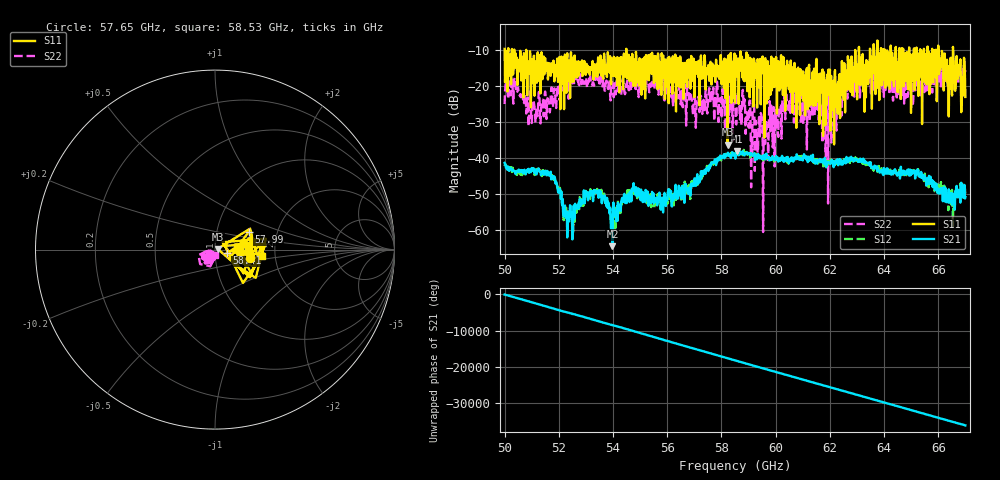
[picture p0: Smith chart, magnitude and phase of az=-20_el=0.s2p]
!Created with skrf (http://scikit-rf.org).
# GHz S RI R 50.0
!freq ReS11 ImS11 ReS21 ImS21 ReS12 ImS12 ReS22 ImS22
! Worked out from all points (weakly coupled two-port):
!   1001 points, 50 GHz to 67 GHz, reference 50 ohm
!   highest |S21| = -38.00 dB at 58.57 GHz (marker M1); lowest = -64.5 dB at 53.98 GHz (marker M2)
!   lowest |S11| = -36.3 dB at 58.23 GHz (marker M3), VSWR 1.03, Z = 51.5 + j0.401 ohm
!   |S11| at or under -10 dB: 50.8 GHz to 54.49 GHz (3.686 GHz wide, 7 % of centre); 54.49 GHz to 62.94 GHz (8.447 GHz wide, 14.4 % of centre); 66.01 GHz to 66.54 GHz (528.6 MHz wide, 0.798 % of centre) (the widest 3 of 30)
!   |S22| runs from -60.5 to -13.9 dB; largest |S21 - S12| = 0.0024
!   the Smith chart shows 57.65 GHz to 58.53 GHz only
!   S11 on the Smith chart (normalised r, x): 57.65 GHz: 1.47, -0.14; 57.99 GHz: 1.42, +0.29; 58.41 GHz: 1.14, -0.05; 58.53 GHz: 1.71, -0.14
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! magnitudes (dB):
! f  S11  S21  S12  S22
! 50 GHz  -9.6  -41.3  -42.2  -25.0
! 51.77 GHz  -15.5  -45.8  -45.6  -24.7
! 52.31 GHz  -10.9  -62.0  -57.1  -18.6
! 52.84 GHz  -13.6  -51.9  -52.2  -19.4
! 53.98 GHz  -15.8  -64.5  -61.2  -19.1
! 54.78 GHz  -17.2  -49.1  -49.9  -19.6
! 55.68 GHz  -13.5  -51.3  -52.6  -22.4
! 57.65 GHz  -14.0  -41.1  -42.3  -23.7
! 57.99 GHz  -13.5  -40.0  -40.6  -28.7
! 58.23 GHz  -36.3  -39.3  -38.9  -23.1
! 58.41 GHz  -23.4  -38.5  -38.4  -35.2
! 58.5 GHz  -24.6  -39.0  -38.8  -24.3
! 58.53 GHz  -11.5  -38.4  -38.5  -30.5
! 58.57 GHz  -12.7  -38.0  -38.6  -23.8
! 59.61 GHz  -12.4  -40.3  -39.2  -36.1
! 60.32 GHz  -19.3  -40.3  -40.5  -22.7
! 61.34 GHz  -25.1  -39.9  -40.5  -26.2
! 61.88 GHz  -25.1  -42.0  -40.9  -23.5
! 62.6 GHz  -19.0  -40.5  -40.8  -19.1
! 64.18 GHz  -17.6  -43.7  -43.6  -18.7
! 66.08 GHz  -14.9  -48.5  -47.7  -15.7
! 67 GHz  -23.0  -50.8  -49.9  -15.5
